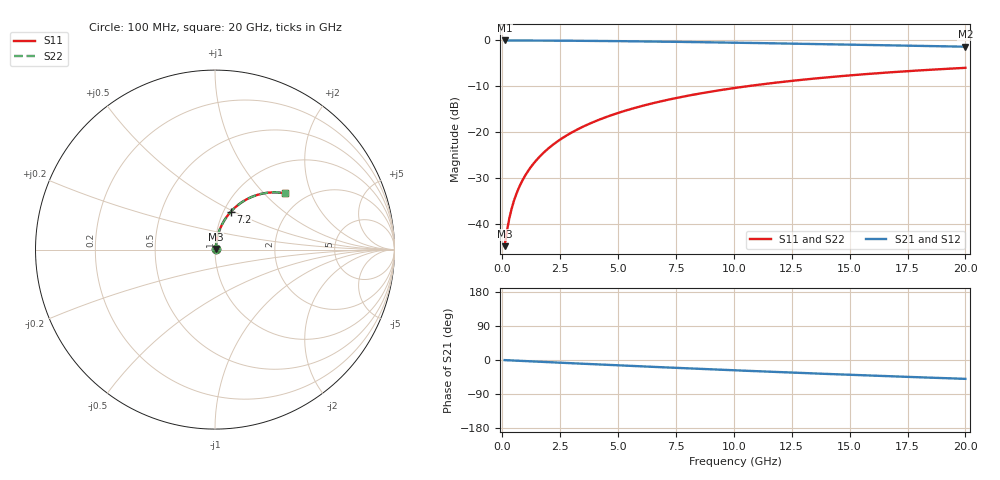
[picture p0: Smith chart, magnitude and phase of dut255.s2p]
! Touchstone file exported from HFSS 2026.1.0
!  File:  C:/ffzhzh/LocalFiles/Ansys_Project_Files/temp_train_BSMRDL_255_1782988663_42984.aedt
!  Generated:  06:39:02 PM Jul  2, 2026
!  Design:  BSMRDL
!  Project:  temp_train_BSMRDL_255_1782988663_42984
! Variables:
!  h_bsmrdl = 4.13um
!  h_ox = 20um
!  h_rdl = 5um
!  h_sub = 80um
!  h_tmrdl = 5um
!  h_tsv = 80um
!  h_via = 3um
!  l_bsmrdl = 717.7um
!  l_sub = 1117.7um
!  l_tmrdl = 200um
!  m_sub = 200um
!  pitch = 44.03um
!  r_tsv = 6um
!  s_tmrdl = 10um
!  w_bsmrdl = 13.75um
!  w_sub = 500um
!  w_tmrdl = 12um
!  x_tsv_center1 = 206um
!  x_tsv_center2 = 937.45um
!  x_tsv_center3 = 1149.45um
!  x_tsv_center4 = 1880.9um
!  x_tsv_center5 = 2092.9um
!  x_tsv_center6 = 2824.35um
# GHz S MA R 50.000000
! Terminal data exported
! Port[1] = BSM_RDL1_1_T1
! Port[2] = BSM_RDL1_1_T2
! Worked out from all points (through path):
!   200 points, 100 MHz to 20 GHz, reference 50 ohm
!   highest |S21| = -0.04 dB at 100 MHz (marker M1); lowest = -1.4 dB at 20 GHz (marker M2)
!   group delay of S21, straight-line fit = 6.92 ps
!   lowest |S11| = -44.8 dB at 100 MHz (marker M3), VSWR 1.01, Z = 50.5 + j0.351 ohm
!   |S11| at or under -10 dB: start of sweep to 10.59 GHz
!   |S22| runs from -44.8 to -6.0 dB; largest |S21 - S12| = 2.4e-15
!   S11 on the Smith chart (normalised r, x): 100 MHz: 1.01, +0.01; 7.2 GHz: 1.08, +0.48; 20 GHz: 1.60, +1.34
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0.1  0.005726 37.5  0.9955 -0.3  0.9955 -0.3  0.005726 37.5
! Gamma 0 0 0 0
! Port Impedance 50 0 50 0
0.2  0.008364 55.8  0.9953 -0.6  0.9953 -0.6  0.008364 55.8
0.3  0.01141 64.5  0.9952 -0.9  0.9952 -0.9  0.01141 64.5
0.4  0.01457 69.3  0.995 -1.2  0.995 -1.2  0.01457 69.3
0.5  0.01777 72.3  0.9949 -1.5  0.9949 -1.5  0.01777 72.3
0.6  0.02099 74.3  0.9948 -1.7  0.9948 -1.7  0.02099 74.3
0.8  0.02748 76.8  0.9945 -2.3  0.9945 -2.3  0.02748 76.8
1.1  0.03728 78.6  0.994 -3.2  0.994 -3.2  0.03728 78.6
1.5  0.05038 79.4  0.9932 -4.3  0.9932 -4.3  0.05038 79.4
1.8  0.0602 79.4  0.9925 -5.1  0.9925 -5.1  0.0602 79.4
2.1  0.06999 79.2  0.9917 -6.0  0.9917 -6.0  0.06999 79.2
2.7  0.08944 78.3  0.9897 -7.7  0.9897 -7.7  0.08944 78.3
3.5  0.115 76.6  0.9865 -9.9  0.9865 -9.9  0.115 76.6
4.2  0.137 75.0  0.9831 -11.9  0.9831 -11.9  0.137 75.0
5  0.1617 73.1  0.9787 -14.0  0.9787 -14.0  0.1617 73.1
6.8  0.2149 68.5  0.967 -18.9  0.967 -18.9  0.2149 68.6
7.2  0.2263 67.5  0.9641 -19.9  0.9641 -19.9  0.2263 67.6
8.6  0.2649 64.1  0.9533 -23.6  0.9533 -23.6  0.2649 64.1
10.1  0.3039 60.4  0.9409 -27.3  0.9409 -27.3  0.3039 60.4
13.4  0.3812 52.7  0.9113 -35.3  0.9113 -35.3  0.3812 52.7
16.7  0.4468 45.5  0.8808 -42.8  0.8808 -42.8  0.4468 45.5
20  0.5009 38.7  0.8513 -49.8  0.8513 -49.8  0.5009 38.7
